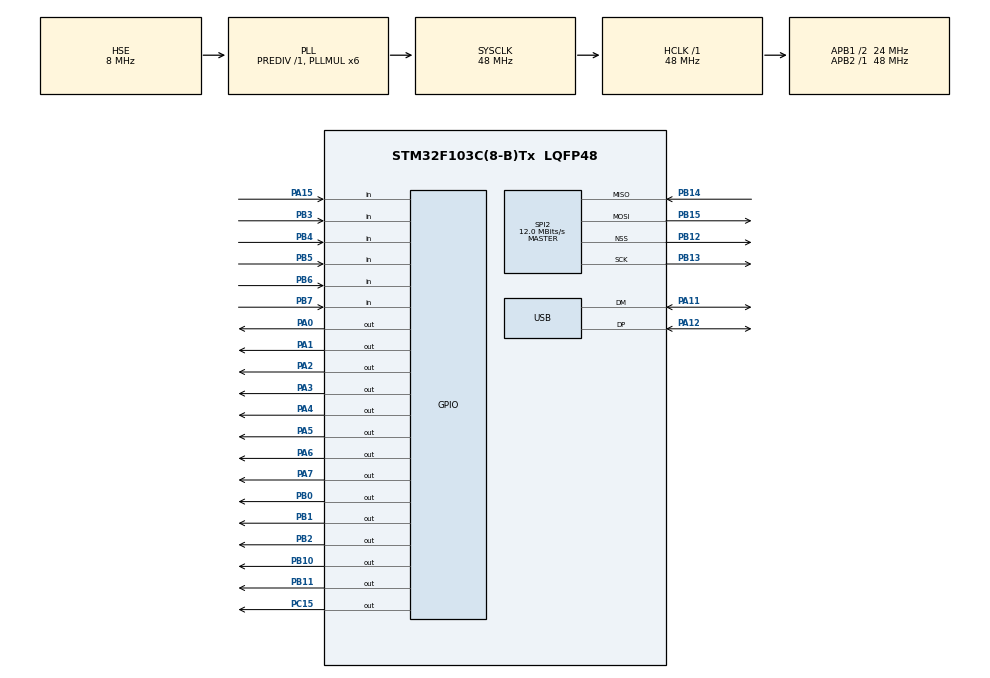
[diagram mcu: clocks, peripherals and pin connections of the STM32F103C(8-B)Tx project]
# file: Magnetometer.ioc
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Mcu.Family=STM32F1
Mcu.Name=STM32F103C(8-B)Tx
Mcu.Package=LQFP48
NVIC.PriorityGroup=NVIC_PRIORITYGROUP_4
NVIC.SPI2_IRQn=true\:0\:0\:false\:false\:true\:true
NVIC.USB_LP_CAN1_RX0_IRQn=true\:0\:0\:false\:false\:true\:false
PA0-WKUP.GPIO_Speed=GPIO_SPEED_FREQ_HIGH
PA0-WKUP.Signal=GPIO_Output
PA1.GPIO_PuPd=GPIO_NOPULL
PA1.GPIO_Speed=GPIO_SPEED_FREQ_HIGH
PA1.PinState=GPIO_PIN_RESET
PA1.Signal=GPIO_Output
PA11.Mode=Device
PA11.Signal=USB_DM
PA12.Mode=Device
PA12.Signal=USB_DP
PA13.Mode=Serial_Wire
PA13.Signal=SYS_JTMS-SWDIO
PA14.Mode=Serial_Wire
PA14.Signal=SYS_JTCK-SWCLK
PA15.GPIO_PuPd=GPIO_PULLUP
PA15.Signal=GPIO_Input
PA2.GPIO_Speed=GPIO_SPEED_FREQ_HIGH
PA2.Signal=GPIO_Output
PA3.GPIO_Speed=GPIO_SPEED_FREQ_HIGH
PA3.Signal=GPIO_Output
PA4.GPIO_Speed=GPIO_SPEED_FREQ_HIGH
PA4.Signal=GPIO_Output
PA5.GPIO_Speed=GPIO_SPEED_FREQ_HIGH
PA5.Signal=GPIO_Output
PA6.GPIO_Speed=GPIO_SPEED_FREQ_HIGH
PA6.Signal=GPIO_Output
PA7.GPIO_Speed=GPIO_SPEED_FREQ_HIGH
PA7.Signal=GPIO_Output
PB0.GPIO_Speed=GPIO_SPEED_FREQ_HIGH
PB0.Signal=GPIO_Output
PB1.GPIO_Speed=GPIO_SPEED_FREQ_HIGH
PB1.Signal=GPIO_Output
PB10.GPIO_Speed=GPIO_SPEED_FREQ_HIGH
PB10.Signal=GPIO_Output
PB11.GPIO_Speed=GPIO_SPEED_FREQ_HIGH
PB11.Signal=GPIO_Output
PB12.Mode=NSS_Signal_Hard_Output
PB12.Signal=SPI2_NSS
PB13.Mode=Full_Duplex_Master
PB13.Signal=SPI2_SCK
PB14.Mode=Full_Duplex_Master
PB14.Signal=SPI2_MISO
PB15.Mode=Full_Duplex_Master
PB15.Signal=SPI2_MOSI
PB2.GPIO_Speed=GPIO_SPEED_FREQ_HIGH
PB2.Signal=GPIO_Output
PB3.GPIO_PuPd=GPIO_PULLDOWN
PB3.Signal=GPIO_Input
PB4.GPIO_PuPd=GPIO_PULLDOWN
PB4.Signal=GPIO_Input
PB5.GPIO_PuPd=GPIO_PULLDOWN
PB5.Signal=GPIO_Input
PB6.GPIO_PuPd=GPIO_PULLDOWN
PB6.Signal=GPIO_Input
PB7.GPIO_PuPd=GPIO_PULLDOWN
PB7.Signal=GPIO_Input
PC15-OSC32_OUT.GPIO_ModeDefaultOutputPP=GPIO_MODE_OUTPUT_PP
PC15-OSC32_OUT.GPIO_PuPd=GPIO_NOPULL
PC15-OSC32_OUT.GPIO_Speed=GPIO_SPEED_FREQ_HIGH
PC15-OSC32_OUT.PinState=GPIO_PIN_SET
PC15-OSC32_OUT.Signal=GPIO_Output
PD0-OSC_IN.Mode=HSE-External-Oscillator
PD0-OSC_IN.Signal=RCC_OSC_IN
PD1-OSC_OUT.Mode=HSE-External-Oscillator
PD1-OSC_OUT.Signal=RCC_OSC_OUT
ProjectManager.HeapSize=0x200
ProjectManager.StackSize=0x400
ProjectManager.TargetToolchain=MDK-ARM V5
RCC.AHBFreq_Value=48000000
RCC.APB1CLKDivider=RCC_HCLK_DIV2
RCC.APB1Freq_Value=24000000
RCC.APB1TimFreq_Value=48000000
RCC.APB2Freq_Value=48000000
RCC.APB2TimFreq_Value=48000000
RCC.HCLKFreq_Value=48000000
RCC.PLLMUL=RCC_PLL_MUL6
RCC.PLLSourceVirtual=RCC_PLLSOURCE_HSE
RCC.SYSCLKFreq_VALUE=48000000
RCC.SYSCLKSource=RCC_SYSCLKSOURCE_PLLCLK
RCC.USBFreq_Value=48000000
SPI2.BaudRatePrescaler=SPI_BAUDRATEPRESCALER_2
SPI2.CLKPhase=SPI_PHASE_2EDGE
SPI2.CLKPolarity=SPI_POLARITY_LOW
SPI2.CRCCalculation=SPI_CRCCALCULATION_DISABLE
SPI2.CalculateBaudRate=12.0 MBits/s
SPI2.DataSize=SPI_DATASIZE_8BIT
SPI2.Direction=SPI_DIRECTION_2LINES
SPI2.FirstBit=SPI_FIRSTBIT_MSB
SPI2.Mode=SPI_MODE_MASTER
SPI2.VirtualNSS=VM_NSSHARD
SPI2.VirtualType=VM_MASTER
USB_DEVICE.CLASS_NAME_FS=CDC
USB_DEVICE.VirtualMode=Cdc
USB_DEVICE.VirtualModeFS=Cdc_FS
VP_USB_DEVICE_VS_USB_DEVICE_CDC_FS.Mode=CDC_FS
board=custom

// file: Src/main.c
/* USER CODE BEGIN Header */
/**
  ******************************************************************************
  * @file           : main.c
  * @brief          : Main program body
  ******************************************************************************
  ** This notice applies to any and all portions of this file
  * that are not between comment pairs USER CODE BEGIN and
  * USER CODE END. Other portions of this file, whether
  * inserted by the user or by software development tools
  * are owned by their respective copyright owners.
  *
  * COPYRIGHT(c) 2019 STMicroelectronics
  *
  * Redistribution and use in source and binary forms, with or without modification,
  * are permitted provided that the following conditions are met:
  *   1. Redistributions of source code must retain the above copyright notice,
  *      this list of conditions and the following disclaimer.
  *   2. Redistributions in binary form must reproduce the above copyright notice,
  *      this list of conditions and the following disclaimer in the documentation
  *      and/or other materials provided with the distribution.
  *   3. Neither the name of STMicroelectronics nor the names of its contributors
  *      may be used to endorse or promote products derived from this software
  *      without specific prior written permission.
  *
  * THIS SOFTWARE IS PROVIDED BY THE COPYRIGHT HOLDERS AND CONTRIBUTORS "AS IS"
  * AND ANY EXPRESS OR IMPLIED WARRANTIES, INCLUDING, BUT NOT LIMITED TO, THE
  * IMPLIED WARRANTIES OF MERCHANTABILITY AND FITNESS FOR A PARTICULAR PURPOSE ARE
  * DISCLAIMED. IN NO EVENT SHALL THE COPYRIGHT HOLDER OR CONTRIBUTORS BE LIABLE
  * FOR ANY DIRECT, INDIRECT, INCIDENTAL, SPECIAL, EXEMPLARY, OR CONSEQUENTIAL
  * DAMAGES (INCLUDING, BUT NOT LIMITED TO, PROCUREMENT OF SUBSTITUTE GOODS OR
  * SERVICES; LOSS OF USE, DATA, OR PROFITS; OR BUSINESS INTERRUPTION) HOWEVER
  * CAUSED AND ON ANY THEORY OF LIABILITY, WHETHER IN CONTRACT, STRICT LIABILITY,
  * OR TORT (INCLUDING NEGLIGENCE OR OTHERWISE) ARISING IN ANY WAY OUT OF THE USE
  * OF THIS SOFTWARE, EVEN IF ADVISED OF THE POSSIBILITY OF SUCH DAMAGE.
  *
  ******************************************************************************
  */
/* USER CODE END Header */

#include "main.h"
#include "usb_device.h"

/* USER CODE BEGIN Includes */
#include "usbd_cdc_if.h"
#include "LibSym.h"
#include "ADS1220.h"
#include "LCD12864MT.h"
/* USER CODE END Includes */

SPI_HandleTypeDef hspi2;

void SystemClock_Config(void);
static void MX_GPIO_Init(void);
static void MX_SPI2_Init(void);

int main(void)
{

  /* MCU Configuration--------------------------------------------------------*/

  /* Reset of all peripherals, Initializes the Flash interface and the Systick. */
  HAL_Init();

  /* Configure the system clock */
  SystemClock_Config();

  /* Initialize all configured peripherals */
  MX_GPIO_Init();
  MX_USB_DEVICE_Init();
  MX_SPI2_Init();
  /* USER CODE BEGIN 2 */
	LCD_Init();
	LCD_WStr(0,0,"Привет мир");
  /* USER CODE END 2 */

  /* Infinite loop */
  while (1)
  {

    /* USER CODE BEGIN 3 */
		CDC_Transmit_FS((uint8_t*)"0",1);
		HAL_Delay(100);
		if(HAL_GPIO_ReadPin(GPIOB,GPIO_PIN_5))
		{

		}
		if(HAL_GPIO_ReadPin(GPIOB,GPIO_PIN_4))
		{

		}
		if(HAL_GPIO_ReadPin(GPIOB,GPIO_PIN_7))
		{

		}

		if(HAL_GPIO_ReadPin(GPIOB,GPIO_PIN_3))
		{

		}

		if(HAL_GPIO_ReadPin(GPIOB,GPIO_PIN_6))
		{
			int i;
			i=0;
			ADS1220_Init();
			ADS1220_Set_Data_Rate(DR_1000SPS);
			ADS1220_Volt_Ref(VOLT_REF_EXT_REF);
			ADS1220_PGA_OFF();
			ADS1220_SingleShot_Mode();
			//ADS1220_Contnuous_Mode();
			while(1)
			{
				//LCD_WStr(0,2,"          ");
				ADS1220_Sel_MUX_ch(MUX_SE_CH1);
				LCD_WNum(0,2,(ADS1220_Read_Single_WaitForData()/1.67));
				ADS1220_Sel_MUX_ch(MUX_SE_CH2);
				LCD_WNum(0,3,(ADS1220_Read_Single_WaitForData()/1.67));
				ADS1220_Sel_MUX_ch(MUX_SE_CH3);
				LCD_WNum(0,4,(ADS1220_Read_Single_WaitForData()/1.67));
				i++;
				LCD_WNum(0,5,i);

				/*
				ADS1220_Start();
				//ADS1220WaitForDataReady(0);
				while ( (HAL_GPIO_ReadPin(GPIO_DRDY_TYPE,GPIO_DRDY_PIN) == GPIO_PIN_RESET))
				//ADS1220_Start();
				HAL_Delay(10);
				ADS1220_Command(RDATA);
				//HAL_GPIO_WritePin(GPIO_RES_TYPE,GPIO_RES_PIN,GPIO_PIN_RESET);
				//HAL_Delay(10);
				for (uint8_t i=0;i<3;i++)
				{
					HAL_SPI_Receive(&hspi2,&SPI_Buf[i],1,Timeout_Talk);
				}
				//HAL_Delay(10);
				//HAL_GPIO_WritePin(GPIO_RES_TYPE,GPIO_RES_PIN,GPIO_PIN_SET);
				mResult32 = SPI_Buf[0];
				mResult32 = (mResult32<<8) | SPI_Buf[1];
				mResult32 = (mResult32<<8) | SPI_Buf[2];

				if (mResult32 & 0x800000)
					mResult32 |= 0xff000000;

				LCD_WStr(0,2,"          ");
				LCD_WNum(0,2,mResult32);
				mResult32 = 0;
				i++;
				LCD_WNum(0,5,i);*/
				/*
				ADS1220_Sel_MUX_ch(MUX_SE_CH1);
				ADS1220_Start();
				LCD_WNum(0,2,ADS1220_Read_WaitForData());

				ADS1220_Sel_MUX_ch(MUX_SE_CH2);
				ADS1220_Start();
				LCD_WNum(0,3,ADS1220_Read_WaitForData());

				ADS1220_Sel_MUX_ch(MUX_SE_CH3);
				ADS1220_Start();
				LCD_WNum(0,4,ADS1220_Read_WaitForData());

				ADS1220_Sel_MUX_ch(MUX_SE_CH3);
				LCD_WStr(0,2,"          ");
				LCD_WNum(0, 2, ADS1220_Read_Single_WaitForData());
				i++;
				LCD_WNum(0,5,i);
			}
				*/
			}
		}
  }
  /* USER CODE END 3 */
}

void SystemClock_Config(void)
{
  RCC_OscInitTypeDef RCC_OscInitStruct = {0};
  RCC_ClkInitTypeDef RCC_ClkInitStruct = {0};
  RCC_PeriphCLKInitTypeDef PeriphClkInit = {0};

  /**Initializes the CPU, AHB and APB busses clocks
  */
  RCC_OscInitStruct.OscillatorType = RCC_OSCILLATORTYPE_HSE;
  RCC_OscInitStruct.HSEState = RCC_HSE_ON;
  RCC_OscInitStruct.HSEPredivValue = RCC_HSE_PREDIV_DIV1;
  RCC_OscInitStruct.HSIState = RCC_HSI_ON;
  RCC_OscInitStruct.PLL.PLLState = RCC_PLL_ON;
  RCC_OscInitStruct.PLL.PLLSource = RCC_PLLSOURCE_HSE;
  RCC_OscInitStruct.PLL.PLLMUL = RCC_PLL_MUL6;
  if (HAL_RCC_OscConfig(&RCC_OscInitStruct) != HAL_OK)
  {
    Error_Handler();
  }
  /**Initializes the CPU, AHB and APB busses clocks
  */
  RCC_ClkInitStruct.ClockType = RCC_CLOCKTYPE_HCLK|RCC_CLOCKTYPE_SYSCLK
                              |RCC_CLOCKTYPE_PCLK1|RCC_CLOCKTYPE_PCLK2;
  RCC_ClkInitStruct.SYSCLKSource = RCC_SYSCLKSOURCE_PLLCLK;
  RCC_ClkInitStruct.AHBCLKDivider = RCC_SYSCLK_DIV1;
  RCC_ClkInitStruct.APB1CLKDivider = RCC_HCLK_DIV2;
  RCC_ClkInitStruct.APB2CLKDivider = RCC_HCLK_DIV1;

  if (HAL_RCC_ClockConfig(&RCC_ClkInitStruct, FLASH_LATENCY_1) != HAL_OK)
  {
    Error_Handler();
  }
  PeriphClkInit.PeriphClockSelection = RCC_PERIPHCLK_USB;
  PeriphClkInit.UsbClockSelection = RCC_USBCLKSOURCE_PLL;
  if (HAL_RCCEx_PeriphCLKConfig(&PeriphClkInit) != HAL_OK)
  {
    Error_Handler();
  }
}

static void MX_SPI2_Init(void)
{

  /* SPI2 parameter configuration*/
  hspi2.Instance = SPI2;
  hspi2.Init.Mode = SPI_MODE_MASTER;
  hspi2.Init.Direction = SPI_DIRECTION_2LINES;
  hspi2.Init.DataSize = SPI_DATASIZE_8BIT;
  hspi2.Init.CLKPolarity = SPI_POLARITY_LOW;
  hspi2.Init.CLKPhase = SPI_PHASE_2EDGE;
  hspi2.Init.NSS = SPI_NSS_HARD_OUTPUT;
  hspi2.Init.BaudRatePrescaler = SPI_BAUDRATEPRESCALER_2;
  hspi2.Init.FirstBit = SPI_FIRSTBIT_MSB;
  hspi2.Init.TIMode = SPI_TIMODE_DISABLE;
  hspi2.Init.CRCCalculation = SPI_CRCCALCULATION_DISABLE;
  hspi2.Init.CRCPolynomial = 10;
  if (HAL_SPI_Init(&hspi2) != HAL_OK)
  {
    Error_Handler();
  }

}

static void MX_GPIO_Init(void)
{
  GPIO_InitTypeDef GPIO_InitStruct = {0};

  /* GPIO Ports Clock Enable */
  __HAL_RCC_GPIOC_CLK_ENABLE();
  __HAL_RCC_GPIOD_CLK_ENABLE();
  __HAL_RCC_GPIOA_CLK_ENABLE();
  __HAL_RCC_GPIOB_CLK_ENABLE();

  /*Configure GPIO pin Output Level */
  HAL_GPIO_WritePin(GPIOC, GPIO_PIN_15, GPIO_PIN_SET);

  /*Configure GPIO pin Output Level */
  HAL_GPIO_WritePin(GPIOA, GPIO_PIN_0|GPIO_PIN_1|GPIO_PIN_2|GPIO_PIN_3
                          |GPIO_PIN_4|GPIO_PIN_5|GPIO_PIN_6|GPIO_PIN_7, GPIO_PIN_RESET);

  /*Configure GPIO pin Output Level */
  HAL_GPIO_WritePin(GPIOB, GPIO_PIN_0|GPIO_PIN_1|GPIO_PIN_2|GPIO_PIN_10
                          |GPIO_PIN_11, GPIO_PIN_RESET);

  /*Configure GPIO pin : PC15 */
  GPIO_InitStruct.Pin = GPIO_PIN_15;
  GPIO_InitStruct.Mode = GPIO_MODE_OUTPUT_PP;
  GPIO_InitStruct.Pull = GPIO_NOPULL;
  GPIO_InitStruct.Speed = GPIO_SPEED_FREQ_HIGH;
  HAL_GPIO_Init(GPIOC, &GPIO_InitStruct);

  /*Configure GPIO pins : PA0 PA1 PA2 PA3
                           PA4 PA5 PA6 PA7 */
  GPIO_InitStruct.Pin = GPIO_PIN_0|GPIO_PIN_1|GPIO_PIN_2|GPIO_PIN_3
                          |GPIO_PIN_4|GPIO_PIN_5|GPIO_PIN_6|GPIO_PIN_7;
  GPIO_InitStruct.Mode = GPIO_MODE_OUTPUT_PP;
  GPIO_InitStruct.Pull = GPIO_NOPULL;
  GPIO_InitStruct.Speed = GPIO_SPEED_FREQ_HIGH;
  HAL_GPIO_Init(GPIOA, &GPIO_InitStruct);

  /*Configure GPIO pins : PB0 PB1 PB2 PB10
                           PB11 */
  GPIO_InitStruct.Pin = GPIO_PIN_0|GPIO_PIN_1|GPIO_PIN_2|GPIO_PIN_10
                          |GPIO_PIN_11;
  GPIO_InitStruct.Mode = GPIO_MODE_OUTPUT_PP;
  GPIO_InitStruct.Pull = GPIO_NOPULL;
  GPIO_InitStruct.Speed = GPIO_SPEED_FREQ_HIGH;
  HAL_GPIO_Init(GPIOB, &GPIO_InitStruct);

  /*Configure GPIO pin : PA15 */
  GPIO_InitStruct.Pin = GPIO_PIN_15;
  GPIO_InitStruct.Mode = GPIO_MODE_INPUT;
  GPIO_InitStruct.Pull = GPIO_PULLUP;
  HAL_GPIO_Init(GPIOA, &GPIO_InitStruct);

  /*Configure GPIO pins : PB3 PB4 PB5 PB6
                           PB7 */
  GPIO_InitStruct.Pin = GPIO_PIN_3|GPIO_PIN_4|GPIO_PIN_5|GPIO_PIN_6
                          |GPIO_PIN_7;
  GPIO_InitStruct.Mode = GPIO_MODE_INPUT;
  GPIO_InitStruct.Pull = GPIO_PULLDOWN;
  HAL_GPIO_Init(GPIOB, &GPIO_InitStruct);

}

void Error_Handler(void)
{
}

/************************ (C) COPYRIGHT STMicroelectronics *****END OF FILE****/
